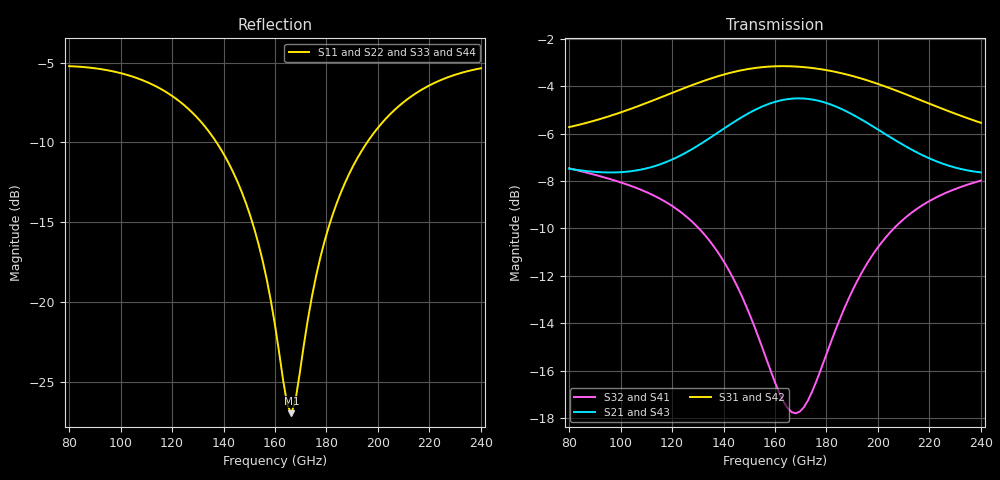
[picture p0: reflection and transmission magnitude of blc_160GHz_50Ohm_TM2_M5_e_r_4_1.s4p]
#  GHZ S DB R 50.0
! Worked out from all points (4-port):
!   101 points, 80 GHz to 240 GHz, reference 50 ohm
!   strongest paths, dB at 80 GHz, 120 GHz, 160 GHz, 200 GHz, 240 GHz:
!     S31: -5.7, -4.3, -3.2, -3.9, -5.5
!     S42: -5.7, -4.3, -3.2, -3.9, -5.6
!     S21: -7.5, -7.1, -4.7, -5.8, -7.6
!     S43: -7.5, -7.1, -4.7, -5.8, -7.6
!     S32: -7.5, -9.0, -16.5, -10.8, -8.0
!     S41: -7.5, -9.1, -16.5, -10.8, -8.0
!   lowest |S11| = -27.0 dB at 166.4 GHz (marker M1), VSWR 1.09, Z = 54.6 - j0.913 ohm
!   |S11| at or under -10 dB: 137.3 GHz to 195.8 GHz (58.54 GHz wide, 35.2 % of centre)
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80  -5.22 157.7  -7.48 -48.5  -5.72 -79.8  -7.47 -62.4
    -7.48 -48.5  -5.23 157.7  -7.46 -62.3  -5.72 -79.8
    -5.72 -79.8  -7.46 -62.3  -5.22 157.7  -7.48 -48.5
    -7.47 -62.4  -5.72 -79.8  -7.48 -48.5  -5.22 157.6
137.6  -10.08 106.5  -5.97 -70.1  -3.59 -145.3  -10.98 -111.1
       -5.97 -70.1  -10.11 106.5  -10.97 -111.1  -3.58 -145.4
       -3.59 -145.3  -10.97 -111.1  -10.08 106.5  -5.97 -70.1
       -10.98 -111.1  -3.58 -145.4  -5.97 -70.1  -10.09 106.4
153.6  -16.38 79.7  -4.92 -83.5  -3.21 -167.8  -14.61 -118.2
       -4.92 -83.5  -16.46 79.5  -14.59 -118.3  -3.21 -167.9
       -3.21 -167.8  -14.59 -118.3  -16.38 79.5  -4.93 -83.5
       -14.61 -118.2  -3.21 -167.9  -4.93 -83.5  -16.42 79.3
166.4  -26.98 -10.8  -4.52 -97.2  -3.16 173.7  -17.73 -99.3
       -4.52 -97.2  -26.92 -13.2  -17.74 -99.5  -3.16 173.7
       -3.16 173.7  -17.74 -99.5  -26.81 -11.1  -4.52 -97.2
       -17.73 -99.3  -3.16 173.7  -4.52 -97.2  -26.80 -12.4
177.6  -17.23 -90.7  -4.63 -109.6  -3.28 157.8  -15.98 -75.6
       -4.63 -109.6  -17.11 -90.9  -16.01 -75.7  -3.28 157.7
       -3.28 157.8  -16.01 -75.7  -17.18 -90.3  -4.63 -109.6
       -15.98 -75.6  -3.28 157.7  -4.63 -109.6  -17.13 -90.6
192  -10.99 -115.7  -5.31 -123.8  -3.62 137.8  -12.19 -75.0
     -5.31 -123.8  -10.93 -115.7  -12.21 -75.0  -3.63 137.7
     -3.62 137.8  -12.21 -75.0  -10.97 -115.4  -5.31 -123.7
     -12.19 -75.0  -3.63 137.7  -5.31 -123.7  -10.95 -115.6
240  -5.36 -161.5  -7.63 -147.7  -5.54 80.6  -7.97 -116.4
     -7.63 -147.7  -5.34 -161.5  -7.98 -116.3  -5.55 80.5
     -5.54 80.6  -7.98 -116.3  -5.35 -161.4  -7.63 -147.6
     -7.97 -116.4  -5.55 80.5  -7.63 -147.6  -5.34 -161.5
